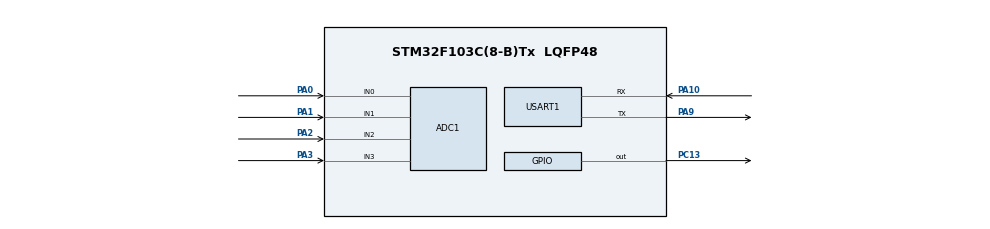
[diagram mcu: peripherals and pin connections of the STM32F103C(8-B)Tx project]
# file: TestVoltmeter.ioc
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ADC1.Channel-0\#ChannelRegularConversion=ADC_CHANNEL_0
ADC1.Channel-1\#ChannelInjectedConversion=ADC_CHANNEL_0
ADC1.Channel-2\#ChannelInjectedConversion=ADC_CHANNEL_1
ADC1.Channel-3\#ChannelInjectedConversion=ADC_CHANNEL_2
ADC1.Channel-4\#ChannelInjectedConversion=ADC_CHANNEL_3
ADC1.ContinuousConvMode=ENABLE
ADC1.EnableInjectedConversion=ENABLE
ADC1.InjNumberOfConversion=4
ADC1.InjectedConvMode=AutoInjected
ADC1.InjectedOffset-1\#ChannelInjectedConversion=0
ADC1.InjectedOffset-2\#ChannelInjectedConversion=0
ADC1.InjectedOffset-3\#ChannelInjectedConversion=0
ADC1.InjectedOffset-4\#ChannelInjectedConversion=0
ADC1.InjectedRank-1\#ChannelInjectedConversion=1
ADC1.InjectedRank-2\#ChannelInjectedConversion=2
ADC1.InjectedRank-3\#ChannelInjectedConversion=3
ADC1.InjectedRank-4\#ChannelInjectedConversion=4
ADC1.NbrOfConversionFlag=1
ADC1.Rank-0\#ChannelRegularConversion=1
ADC1.SamplingTime-0\#ChannelRegularConversion=ADC_SAMPLETIME_7CYCLES_5
ADC1.SamplingTime-1\#ChannelInjectedConversion=ADC_SAMPLETIME_7CYCLES_5
ADC1.SamplingTime-2\#ChannelInjectedConversion=ADC_SAMPLETIME_7CYCLES_5
ADC1.SamplingTime-3\#ChannelInjectedConversion=ADC_SAMPLETIME_7CYCLES_5
ADC1.SamplingTime-4\#ChannelInjectedConversion=ADC_SAMPLETIME_7CYCLES_5
ADC1.master=1
FREERTOS.Tasks01=defaultTask,0,128,StartDefaultTask,Default,NULL,Dynamic,NULL,NULL;Data_receive,0,128,Data_Receive_handler,Default,NULL,Dynamic,NULL,NULL;Led_status,-3,128,Led_status_handler,Default,NULL,Dynamic,NULL,NULL
Mcu.Family=STM32F1
Mcu.Name=STM32F103C(8-B)Tx
Mcu.Package=LQFP48
NVIC.PriorityGroup=NVIC_PRIORITYGROUP_4
NVIC.TIM1_UP_IRQn=true\:15\:0\:false\:false\:true\:false\:false\:true
NVIC.TimeBase=TIM1_UP_IRQn
NVIC.TimeBaseIP=TIM1
PA0-WKUP.Signal=ADCx_IN0
PA1.Signal=ADCx_IN1
PA10.Mode=Asynchronous
PA10.Signal=USART1_RX
PA13.Mode=Serial_Wire
PA13.Signal=SYS_JTMS-SWDIO
PA14.Mode=Serial_Wire
PA14.Signal=SYS_JTCK-SWCLK
PA2.Signal=ADCx_IN2
PA3.Signal=ADCx_IN3
PA9.Mode=Asynchronous
PA9.Signal=USART1_TX
PC13-TAMPER-RTC.GPIO_PuPd=GPIO_PULLDOWN
PC13-TAMPER-RTC.Signal=GPIO_Output
ProjectManager.HeapSize=0x200
ProjectManager.StackSize=0x400
ProjectManager.TargetToolchain=STM32CubeIDE
RCC.APB1Freq_Value=8000000
RCC.APB2Freq_Value=8000000
SH.ADCx_IN0.0=ADC1_IN0,IN0
SH.ADCx_IN1.0=ADC1_IN1,IN1
SH.ADCx_IN2.0=ADC1_IN2,IN2
SH.ADCx_IN3.0=ADC1_IN3,IN3
USART1.VirtualMode=VM_ASYNC
VP_FREERTOS_VS_CMSIS_V1.Mode=CMSIS_V1
VP_SYS_VS_tim1.Mode=TIM1
board=custom

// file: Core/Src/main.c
/* USER CODE BEGIN Header */
/**
 ******************************************************************************
 * @file           : main.c
 * @brief          : Main program body
 ******************************************************************************
 * @attention
 *
 * Copyright (c) 2022 STMicroelectronics.
 * All rights reserved.
 *
 * This software is licensed under terms that can be found in the LICENSE file
 * in the root directory of this software component.
 * If no LICENSE file comes with this software, it is provided AS-IS.
 *
 ******************************************************************************
 */
/* USER CODE END Header */
#include "main.h"
#include "cmsis_os.h"

/* USER CODE BEGIN Includes */
#include "string.h"
#include "stdbool.h"
#include "stdlib.h"
#include "math.h"
/* USER CODE END Includes */

/* USER CODE BEGIN PTD */
typedef struct {
	int8_t Channel;
	uint8_t Mode;
	uint8_t State;
} ADC_Params_t;

typedef struct {
	uint16_t last_RAW;
	double last_Volt;
	double avg_Volt;
	double rms_Volt;
} output_data_t;
/* USER CODE END PTD */

/* USER CODE BEGIN PD */
#define STAT_IDLE 0
#define STAT_MEASURE 1
#define STAT_ERROR 2

#define ADC_MODE_NONE 0
#define ADC_MODE_AVG 1
#define ADC_MODE_RMS 2
#define ADC_STATE_ENABLE 1
#define ADC_STATE_DISABLE 0

#define DEBUG_N
/* USER CODE END PD */

ADC_HandleTypeDef hadc1;

UART_HandleTypeDef huart1;

osThreadId defaultTaskHandle;
osThreadId Data_receiveHandle;
osThreadId Led_statusHandle;
/* USER CODE BEGIN PV */
ADC_Params_t ADC_Params;
output_data_t ch0;
output_data_t ch1;
output_data_t ch2;
output_data_t ch3;

uint16_t ValueADC = 0;
uint8_t Status = STAT_IDLE; // voltmeter state
uint8_t TxDATA[24];
uint8_t RxDATA[24];
char buffer[64];
uint32_t Time;
uint8_t msg = 0;

/* USER CODE END PV */

void SystemClock_Config(void);
static void MX_GPIO_Init(void);
static void MX_ADC1_Init(void);
static void MX_USART1_UART_Init(void);
void StartDefaultTask(void const * argument);
void Data_Receive_handler(void const * argument);
void Led_status_handler(void const * argument);
#ifdef DEBUG_N
void send_msg(char* msg);
#endif
void StatusTX();
void ValueTX(char* str_data, double data, uint8_t decimals);
void printNumber(char* str, uint32_t data);
void addChar(char* str, char ch);
void ReceiveDATA();
void Parsing();
void ADC_Routine(ADC_Params_t* params);
void ComputeVoltage(output_data_t* channel);
double avg(double new);
double rms(double new);
void TransmitMSG(char* msg);
void TransmitVOLTAGE(ADC_Params_t* params);
void Flush(void* data);
void VoltmeterInit();
void LED_SET(int8_t state);

int main(void)
{

  /* MCU Configuration--------------------------------------------------------*/

  /* Reset of all peripherals, Initializes the Flash interface and the Systick. */
  HAL_Init();

  /* Configure the system clock */
  SystemClock_Config();

  /* Initialize all configured peripherals */
  MX_GPIO_Init();
  MX_ADC1_Init();
  MX_USART1_UART_Init();
  /* USER CODE BEGIN 2 */
	HAL_ADCEx_Calibration_Start(&hadc1);
	VoltmeterInit();
  /* USER CODE END 2 */

  /* Create the thread(s) */
  /* definition and creation of defaultTask */
  osThreadDef(defaultTask, StartDefaultTask, osPriorityNormal, 0, 128);
  defaultTaskHandle = osThreadCreate(osThread(defaultTask), NULL);

  /* definition and creation of Data_receive */
  osThreadDef(Data_receive, Data_Receive_handler, osPriorityNormal, 0, 128);
  Data_receiveHandle = osThreadCreate(osThread(Data_receive), NULL);

  /* definition and creation of Led_status */
  osThreadDef(Led_status, Led_status_handler, osPriorityIdle, 0, 128);
  Led_statusHandle = osThreadCreate(osThread(Led_status), NULL);

  /* Start scheduler */
  osKernelStart();

  /* We should never get here as control is now taken by the scheduler */
  /* Infinite loop */
	while (1) {

	}
}

void SystemClock_Config(void)
{
  RCC_OscInitTypeDef RCC_OscInitStruct = {0};
  RCC_ClkInitTypeDef RCC_ClkInitStruct = {0};
  RCC_PeriphCLKInitTypeDef PeriphClkInit = {0};

  /** Initializes the RCC Oscillators according to the specified parameters
  * in the RCC_OscInitTypeDef structure.
  */
  RCC_OscInitStruct.OscillatorType = RCC_OSCILLATORTYPE_HSI;
  RCC_OscInitStruct.HSIState = RCC_HSI_ON;
  RCC_OscInitStruct.HSICalibrationValue = RCC_HSICALIBRATION_DEFAULT;
  RCC_OscInitStruct.PLL.PLLState = RCC_PLL_NONE;
  if (HAL_RCC_OscConfig(&RCC_OscInitStruct) != HAL_OK)
  {
    Error_Handler();
  }
  /** Initializes the CPU, AHB and APB buses clocks
  */
  RCC_ClkInitStruct.ClockType = RCC_CLOCKTYPE_HCLK|RCC_CLOCKTYPE_SYSCLK
                              |RCC_CLOCKTYPE_PCLK1|RCC_CLOCKTYPE_PCLK2;
  RCC_ClkInitStruct.SYSCLKSource = RCC_SYSCLKSOURCE_HSI;
  RCC_ClkInitStruct.AHBCLKDivider = RCC_SYSCLK_DIV1;
  RCC_ClkInitStruct.APB1CLKDivider = RCC_HCLK_DIV1;
  RCC_ClkInitStruct.APB2CLKDivider = RCC_HCLK_DIV1;

  if (HAL_RCC_ClockConfig(&RCC_ClkInitStruct, FLASH_LATENCY_0) != HAL_OK)
  {
    Error_Handler();
  }
  PeriphClkInit.PeriphClockSelection = RCC_PERIPHCLK_ADC;
  PeriphClkInit.AdcClockSelection = RCC_ADCPCLK2_DIV2;
  if (HAL_RCCEx_PeriphCLKConfig(&PeriphClkInit) != HAL_OK)
  {
    Error_Handler();
  }
}

static void MX_ADC1_Init(void)
{

  ADC_ChannelConfTypeDef sConfig = {0};
  ADC_InjectionConfTypeDef sConfigInjected = {0};

  /** Common config
  */
  hadc1.Instance = ADC1;
  hadc1.Init.ScanConvMode = ADC_SCAN_ENABLE;
  hadc1.Init.ContinuousConvMode = ENABLE;
  hadc1.Init.DiscontinuousConvMode = DISABLE;
  hadc1.Init.ExternalTrigConv = ADC_SOFTWARE_START;
  hadc1.Init.DataAlign = ADC_DATAALIGN_RIGHT;
  hadc1.Init.NbrOfConversion = 1;
  if (HAL_ADC_Init(&hadc1) != HAL_OK)
  {
    Error_Handler();
  }
  /** Configure Regular Channel
  */
  sConfig.Channel = ADC_CHANNEL_0;
  sConfig.Rank = ADC_REGULAR_RANK_1;
  sConfig.SamplingTime = ADC_SAMPLETIME_7CYCLES_5;
  if (HAL_ADC_ConfigChannel(&hadc1, &sConfig) != HAL_OK)
  {
    Error_Handler();
  }
  /** Configure Injected Channel
  */
  sConfigInjected.InjectedChannel = ADC_CHANNEL_0;
  sConfigInjected.InjectedRank = ADC_INJECTED_RANK_1;
  sConfigInjected.InjectedNbrOfConversion = 4;
  sConfigInjected.InjectedSamplingTime = ADC_SAMPLETIME_7CYCLES_5;
  sConfigInjected.ExternalTrigInjecConv = ADC_INJECTED_SOFTWARE_START;
  sConfigInjected.AutoInjectedConv = ENABLE;
  sConfigInjected.InjectedDiscontinuousConvMode = DISABLE;
  sConfigInjected.InjectedOffset = 0;
  if (HAL_ADCEx_InjectedConfigChannel(&hadc1, &sConfigInjected) != HAL_OK)
  {
    Error_Handler();
  }
  /** Configure Injected Channel
  */
  sConfigInjected.InjectedChannel = ADC_CHANNEL_1;
  sConfigInjected.InjectedRank = ADC_INJECTED_RANK_2;
  if (HAL_ADCEx_InjectedConfigChannel(&hadc1, &sConfigInjected) != HAL_OK)
  {
    Error_Handler();
  }
  /** Configure Injected Channel
  */
  sConfigInjected.InjectedChannel = ADC_CHANNEL_2;
  sConfigInjected.InjectedRank = ADC_INJECTED_RANK_3;
  if (HAL_ADCEx_InjectedConfigChannel(&hadc1, &sConfigInjected) != HAL_OK)
  {
    Error_Handler();
  }
  /** Configure Injected Channel
  */
  sConfigInjected.InjectedChannel = ADC_CHANNEL_3;
  sConfigInjected.InjectedRank = ADC_INJECTED_RANK_4;
  if (HAL_ADCEx_InjectedConfigChannel(&hadc1, &sConfigInjected) != HAL_OK)
  {
    Error_Handler();
  }

}

static void MX_USART1_UART_Init(void)
{

  huart1.Instance = USART1;
  huart1.Init.BaudRate = 115200;
  huart1.Init.WordLength = UART_WORDLENGTH_8B;
  huart1.Init.StopBits = UART_STOPBITS_1;
  huart1.Init.Parity = UART_PARITY_NONE;
  huart1.Init.Mode = UART_MODE_TX_RX;
  huart1.Init.HwFlowCtl = UART_HWCONTROL_NONE;
  huart1.Init.OverSampling = UART_OVERSAMPLING_16;
  if (HAL_UART_Init(&huart1) != HAL_OK)
  {
    Error_Handler();
  }

}

static void MX_GPIO_Init(void)
{
  GPIO_InitTypeDef GPIO_InitStruct = {0};

  /* GPIO Ports Clock Enable */
  __HAL_RCC_GPIOC_CLK_ENABLE();
  __HAL_RCC_GPIOA_CLK_ENABLE();

  /*Configure GPIO pin Output Level */
  HAL_GPIO_WritePin(GPIOC, GPIO_PIN_13, GPIO_PIN_RESET);

  /*Configure GPIO pin : PC13 */
  GPIO_InitStruct.Pin = GPIO_PIN_13;
  GPIO_InitStruct.Mode = GPIO_MODE_OUTPUT_PP;
  GPIO_InitStruct.Pull = GPIO_PULLDOWN;
  GPIO_InitStruct.Speed = GPIO_SPEED_FREQ_LOW;
  HAL_GPIO_Init(GPIOC, &GPIO_InitStruct);

}

/* USER CODE BEGIN 4 */
void StatusTX() {
	if (Status == STAT_IDLE) {
		HAL_UART_Transmit(&huart1, (uint8_t*) "Idle\n\r", 6, 100);
	} else if (Status == STAT_MEASURE) {
		HAL_UART_Transmit(&huart1, (uint8_t*) "Measuring...\n\r", 14, 100);
	} else if (Status == STAT_ERROR) {
		HAL_UART_Transmit(&huart1, (uint8_t*) "Error\n\r", 7, 100);
	}
}

void ValueTX(char* str_data, double data, uint8_t decimals) {
	if (data < 0) {
		addChar(str_data, '-'); //symbol -
		data = -data;
	}
	uint32_t integer = data;
	printNumber(str_data, integer);
	addChar(str_data, '.');; //symbol .
	data -= integer;
	for (uint8_t i = 0; i < decimals; i++) {
		data *= 10.0;
		printNumber(str_data, (uint8_t) data);
		data -= (uint8_t) data;
	}
}

void printNumber(char* str, uint32_t data) {
	int8_t bytes[10];
	uint8_t amount;
	for (uint8_t i = 0; i < 10; i++) {
		bytes[i] = data % 10;
		data /= 10;
		if (data == 0) {
			amount = i;
			break;
		}
	}
	for (int8_t i = amount; i >= 0; i--) {
		addChar(str, bytes[i] + '0');
	}
}

void addChar(char* str, char ch) {
	uint8_t i = 0;
	for (i = 0; str[i]!='\0';i++) {

	}
	str[i] = ch;
	str[i+1] = '\0';
}

void ReceiveDATA() {
	Flush(RxDATA);
	HAL_UART_Receive(&huart1, RxDATA, sizeof(RxDATA), 10);
	Parsing();
}

void Parsing()
{
	int validate = 0;
	//start measuring
	if (strstr((char*)RxDATA, "start")) {
		validate++;
		ADC_Params.State = ADC_STATE_ENABLE;
		char* ptr;
		if (ptr = strstr((char*) RxDATA, "ch")) {
			ADC_Params.Channel = atoi(ptr+2);
			validate++;
		}
		if (strstr((char*) RxDATA, "none")) {
			ADC_Params.Mode = ADC_MODE_NONE;
			validate++;
		} else if (strstr((char*) RxDATA, "avg")) {
			ADC_Params.Mode = ADC_MODE_AVG;
			validate++;
		} else if (strstr((char*) RxDATA, "rms")) {
			ADC_Params.Mode = ADC_MODE_RMS;
			validate++;
		}

		if (validate == 3){
			TransmitMSG("OK");
		}
		else
			TransmitMSG("Fail");
	}
	//stop measuring
	else if (strstr((char*)RxDATA, "stop")) {
		if (ADC_Params.State == ADC_STATE_ENABLE) {
			ADC_Params.State = ADC_STATE_DISABLE;
			TransmitMSG("->>-");
			Status = STAT_IDLE;
		}
		else
			TransmitMSG("Fail");
	}

	//get result
	else if (strstr((char*)RxDATA, "result")) {
		uint8_t last_ch = ADC_Params.Channel;
		validate ++;
		char *ptr;
		if (ptr = strstr((char*) RxDATA, "ch")) {
			ADC_Params.Channel = atoi(ptr + 2);
			validate++;
		}
		if (validate == 2) {
			TransmitVOLTAGE(&ADC_Params);
		}
		else
			TransmitMSG("Fail");
		ADC_Params.Channel = last_ch;
	}
	//get state
	else if (strstr((char*)RxDATA, "status")) {
		if (Status == STAT_IDLE) {
			TransmitMSG("Idle");
		} else if (Status == STAT_MEASURE) {
			TransmitMSG("Measuring...");
		} else if (Status == STAT_ERROR) {
			TransmitMSG("Error");
		}
	}
	ADC_Routine(&ADC_Params);
	Flush((char*)RxDATA);
}

void ADC_Routine(ADC_Params_t* params)
{
	static bool ADCstarted = false;
	if(params->State == ADC_STATE_ENABLE && !ADCstarted){
		if (HAL_ADC_Start(&hadc1) == HAL_OK) {
			Status = STAT_MEASURE;
			ADCstarted = true;
		} else
			Status = STAT_ERROR;

	}
	else if(params->State == ADC_STATE_DISABLE){
		if (HAL_ADC_Stop(&hadc1) == HAL_OK)
			ADCstarted = false;
		else
			Status = STAT_ERROR;
	}

	if (ADCstarted) {
		switch (params->Channel) {
		case 0:
			ComputeVoltage(&ch0);
			break;
		case 1:
			ComputeVoltage(&ch1);
			break;
		case 2:
			ComputeVoltage(&ch2);
			break;
		case 3:
			ComputeVoltage(&ch3);
			break;
		default:
			break;
		}
	}

}

void ComputeVoltage(output_data_t* channel){

	uint16_t lastRAW = 0;
	if (channel == &ch0) {
		lastRAW = HAL_ADCEx_InjectedGetValue(&hadc1, ADC_INJECTED_RANK_1);
	} else if (channel == &ch1) {
		lastRAW = HAL_ADCEx_InjectedGetValue(&hadc1, ADC_INJECTED_RANK_2);
	} else if (channel == &ch2) {
		lastRAW = HAL_ADCEx_InjectedGetValue(&hadc1, ADC_INJECTED_RANK_3);
	} else if (channel == &ch3) {
		lastRAW = HAL_ADCEx_InjectedGetValue(&hadc1, ADC_INJECTED_RANK_4);
	}
	channel->last_RAW = lastRAW;
	double last_V = 3.3/4096*lastRAW;
	channel->last_Volt = last_V;
	channel->avg_Volt = avg(last_V);
	channel->rms_Volt = rms(last_V);
}

double avg(double new) {
	static int t = 1;
	static double old = 0.0;
	static double summ = 0.0;
	double AVG = 0;
	if (t == 50) {
		summ = summ - old + new;
		AVG = summ/t;
		old = new;
		return AVG;
	}
	summ += new;
	AVG = summ/t;
	t++;
	old = new;
	return AVG;
}

double rms(double new) {
	static double old = 0.0;
    double RMS = 0.0;
    new = pow(new,2);
	static int t = 1;
	static double summ = 0.0;
	if (t == 50) {
		summ = summ - old + new;
		RMS = sqrt((double)summ/t);
		old = new;
		return RMS;
	}
	summ += new;
	RMS = sqrt(summ/t);
	t++;
	old = new;
	Time = HAL_GetTick();
}

void send_msg(char* msg) {
	if (strlen(msg) < 64 && strcmp(msg, RxDATA) != 0) {
		Flush(RxDATA);
		strcpy((char*)RxDATA, msg);
	}

}

void LED_SET(int8_t state) {
	if (state == 0) {
		HAL_GPIO_WritePin(GPIOC, GPIO_PIN_13, GPIO_PIN_SET);
	} else if (state == 1) {
		HAL_GPIO_WritePin(GPIOC, GPIO_PIN_13, GPIO_PIN_RESET);
	}else if (state == -1) {
		HAL_GPIO_TogglePin(GPIOC, GPIO_PIN_13);
	}
}

void TransmitMSG(char* msg) {
#ifdef DEBUG_N
	Flush(TxDATA);
	strcpy((char*)TxDATA, msg);
#endif
	HAL_UART_Transmit(&huart1, msg, strlen(msg), 20);
}

void TransmitVOLTAGE(ADC_Params_t* params) {
	Flush(buffer);
	if (params->Mode == ADC_MODE_NONE) {
		switch (params->Channel) {
			case 0:
			ValueTX(buffer, ch0.last_Volt, 4);
			break;
		case 1:
			ValueTX(buffer, ch1.last_Volt, 4);
			break;
		case 2:
			ValueTX(buffer, ch2.last_Volt, 4);
			break;
		case 3:
			ValueTX(buffer, ch3.last_Volt, 4);
			break;
		default:
			break;
		}
	}
	else if (params->Mode == ADC_MODE_AVG) {
		switch (params->Channel) {
			case 0:
			ValueTX(buffer, ch0.avg_Volt, 4);
			break;
		case 1:
			ValueTX(buffer, ch1.avg_Volt, 4);
			break;
		case 2:
			ValueTX(buffer, ch2.avg_Volt, 4);
			break;
		case 3:
			ValueTX(buffer, ch3.avg_Volt, 4);
			break;
		default:
			break;
		}
	}
	else if (params->Mode == ADC_MODE_RMS) {
		switch (params->Channel) {
			case 0:
			ValueTX(buffer, ch0.rms_Volt, 4);
			break;
		case 1:
			ValueTX(buffer, ch1.rms_Volt, 4);
			break;
		case 2:
			ValueTX(buffer, ch2.rms_Volt, 4);
			break;
		case 3:
			ValueTX(buffer, ch3.rms_Volt, 4);
			break;
		default:
			break;
		}
	}
	TransmitMSG(buffer);
}

void Flush(void* data) {
	memset(data, 0, strlen(data));
}

void VoltmeterInit() {
	ADC_Params.Channel = -1;
	ADC_Params.Mode = ADC_MODE_NONE;
	ADC_Params.State = ADC_STATE_DISABLE;
}
/* USER CODE END 4 */

void StartDefaultTask(void const * argument)
{
  /* USER CODE BEGIN 5 */
  /* Infinite loop */
  for(;;)
  {
		if (msg == 1) {
			send_msg("stop");
		} else if (msg == 2) {
			send_msg("start ch0 rms");
		} else if (msg == 3) {
			send_msg("result ch1");
		} else if (msg == 4) {
			send_msg("result ch0");
		} else if (msg == 5) {
			send_msg("status");
		}
    osDelay(1);
  }
  /* USER CODE END 5 */
}

void Data_Receive_handler(void const * argument)
{
  /* USER CODE BEGIN Data_Receive_handler */
  /* Infinite loop */
  for(;;)
  {
	  ReceiveDATA();
	  osDelay(1);
  }
  /* USER CODE END Data_Receive_handler */
}

void Led_status_handler(void const * argument)
{
  /* USER CODE BEGIN Led_status_handler */
	uint64_t timEn = HAL_GetTick();
	uint64_t timDis = HAL_GetTick();
  /* Infinite loop */
  for(;;)
  {
		if (Status == STAT_IDLE) {
			if (HAL_GetTick() - timEn >= 50) {
				LED_SET(0);
				timEn = HAL_GetTick();
			}
			if (HAL_GetTick() - timDis >= 9950) {
				LED_SET(1);
				timDis = HAL_GetTick();
			}

		} else if (Status == STAT_MEASURE) {
			LED_SET(1);

		} else if (Status == STAT_ERROR) {
			if (HAL_GetTick() - timEn >= 50) {
				LED_SET(0);
				timEn = HAL_GetTick();
			}
			if (HAL_GetTick() - timDis >= 200) {
				LED_SET(1);
				timDis = HAL_GetTick();
			}
		}
    osDelay(1);
  }
  /* USER CODE END Led_status_handler */
}

void HAL_TIM_PeriodElapsedCallback(TIM_HandleTypeDef *htim)
{
  if (htim->Instance == TIM1) {
    HAL_IncTick();
  }
}

void Error_Handler(void)
{
	__disable_irq();
	while (1) {
	}
}
